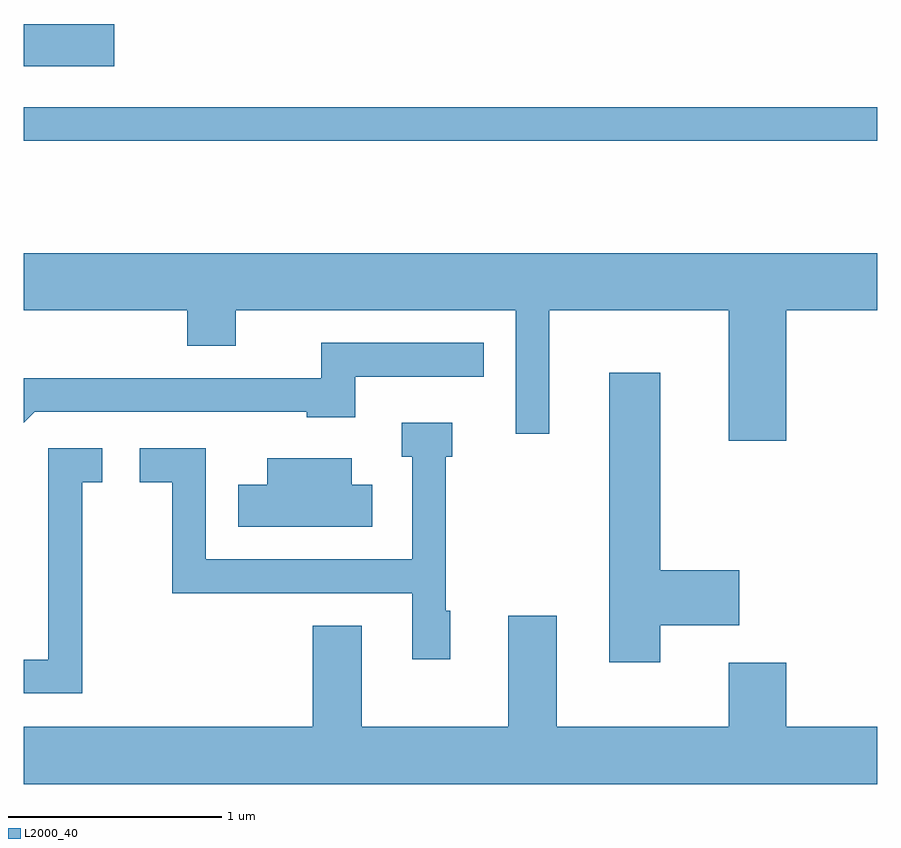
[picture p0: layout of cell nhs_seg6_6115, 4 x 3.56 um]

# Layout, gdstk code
import gdstk
lib = gdstk.Library(unit=1e-6, precision=1e-09)
def R(c, l, rs):  # rectangles x0, y0, x1, y1
    for r in rs: c.add(gdstk.rectangle(r[:2], r[2:], *l))
def P(c, l, *ps):  # polygons
    for p in ps: c.add(gdstk.Polygon(p, *l))
L2000_40 = (2000, 40)

nhs_seg6_6115 = lib.new_cell('nhs_seg6_6115')
R(nhs_seg6_6115, L2000_40, [(371.611,1537.511,375.611,1537.669), (371.611,1537.861,372.034,1538.059)])
P(nhs_seg6_6115, L2000_40, [(375.184,1536.716),(375.611,1536.716),(375.611,1536.984),(371.611,1536.984),(371.611,1536.716),(372.376,1536.716),(372.376,1536.551),(372.604,1536.551),(372.604,1536.716),(373.916,1536.716),(373.916,1536.138),(374.074,1536.138),(374.074,1536.716),(374.916,1536.716),(374.916,1536.106),(375.184,1536.106)],
  [(371.662,1536.241),(372.936,1536.241),(372.936,1536.216),(373.164,1536.216),(373.164,1536.406),(373.768,1536.406),(373.768,1536.564),(373.006,1536.564),(373.006,1536.399),(371.611,1536.399),(371.611,1536.19)],
  [(374.594,1535.241),(374.964,1535.241),(374.964,1535.499),(374.594,1535.499),(374.594,1536.424),(374.356,1536.424),(374.356,1535.066),(374.594,1535.066)],
  [(373.609,1535.309),(373.589,1535.309),(373.589,1536.031),(373.619,1536.031),(373.619,1536.189),(373.383,1536.189),(373.383,1536.031),(373.431,1536.031),(373.431,1535.549),(372.464,1535.549),(372.464,1536.069),(372.153,1536.069),(372.153,1535.911),(372.306,1535.911),(372.306,1535.391),(373.431,1535.391),(373.431,1535.081),(373.609,1535.081)],
  [(371.884,1535.911),(371.978,1535.911),(371.978,1536.069),(371.726,1536.069),(371.726,1535.079),(371.611,1535.079),(371.611,1534.921),(371.884,1534.921)],
  [(373.244,1535.899),(373.149,1535.899),(373.149,1536.024),(372.751,1536.024),(372.751,1535.899),(372.616,1535.899),(372.616,1535.701),(373.244,1535.701)],
  [(375.611,1534.764),(375.184,1534.764),(375.184,1535.064),(374.916,1535.064),(374.916,1534.764),(374.109,1534.764),(374.109,1535.284),(373.881,1535.284),(373.881,1534.764),(373.194,1534.764),(373.194,1535.239),(372.966,1535.239),(372.966,1534.764),(371.611,1534.764),(371.611,1534.496),(375.611,1534.496)])

lib.write_gds('nhs_seg6_6115.gds')
